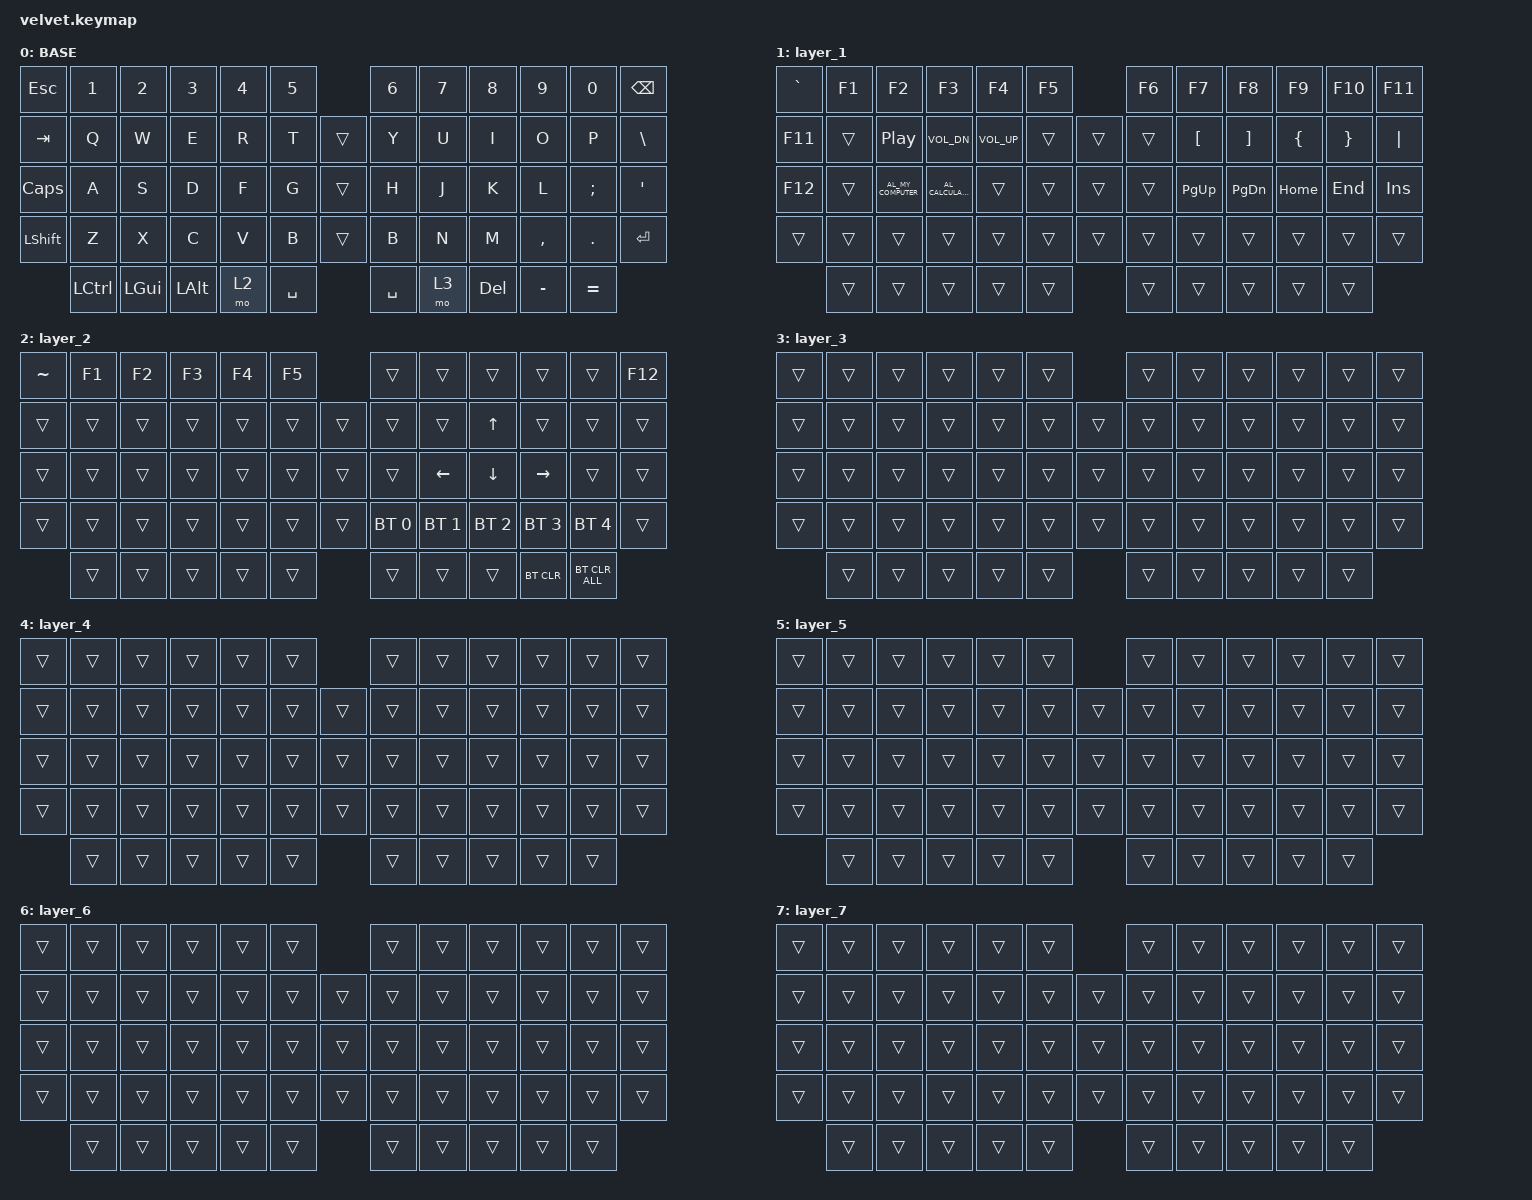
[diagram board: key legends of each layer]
#define BASE 0
#define LOWER 1

#include <behaviors/toggle_io.dtsi>
#include <behaviors/on_io.dtsi>
#include <behaviors/off_io.dtsi>
#include <behaviors.dtsi>
#include <dt-bindings/zmk/bt.h>
#include <dt-bindings/zmk/keys.h>





/ {

    behaviors {
        ltq: ltq {
            compatible = "zmk,behavior-hold-tap";
            label = "LTQ";
            bindings = <&mo>, <&kp>;

            #binding-cells = <2>;
            tapping-term-ms = <200>;
            quick-tap-ms = <180>;
        };

    };

    combos {
        compatible = "zmk,combos";

        flash {
            bindings = <&bootloader>;
            key-positions = <0 11>;
        };
    };

    keymap {
        compatible = "zmk,keymap";

        BASE {
            bindings = <
&kp ESC    &kp N1     &kp N2    &kp N3        &kp N4  &kp N5                &kp NUMBER_6  &kp N7  &kp N8      &kp N9     &kp N0     &kp BACKSPACE
&kp TAB    &kp Q      &kp W     &kp E         &kp R   &kp T      &trans  &kp Y         &kp U   &kp I       &kp O      &kp P      &kp BSLH
&kp CAPS   &kp A      &kp S     &kp D         &kp F   &kp G      &trans  &kp H         &kp J   &kp K       &kp L      &kp SEMI   &kp APOS
&kp LSHFT  &kp Z      &kp X     &kp C         &kp V   &kp B      &trans  &kp B         &kp N   &kp M       &kp COMMA  &kp DOT    &kp ENTER
           &kp LCTRL  &kp LGUI  &kp LEFT_ALT  &mo 2   &kp SPACE             &kp SPACE     &mo 3   &kp DELETE  &kp MINUS  &kp EQUAL
            >;

            label = "BASE";
        };

        layer_1 {
            bindings = <
&kp GRAVE  &kp F1  &kp F2                &kp F3               &kp F4           &kp F5          &kp F6  &kp F7            &kp F8             &kp F9          &kp F10          &kp F11
&kp F11    &trans  &kp C_PLAY_PAUSE      &kp C_VOL_DN         &kp C_VOLUME_UP  &trans  &trans  &trans  &kp LEFT_BRACKET  &kp RIGHT_BRACKET  &kp LEFT_BRACE  &kp RIGHT_BRACE  &kp PIPE
&kp F12    &trans  &kp C_AL_MY_COMPUTER  &kp C_AL_CALCULATOR  &trans           &trans  &trans  &trans  &kp PAGE_UP       &kp PAGE_DOWN      &kp HOME        &kp END          &kp INSERT
&trans     &trans  &trans                &trans               &trans           &trans  &trans  &trans  &trans            &trans             &trans          &trans           &trans
           &trans  &trans                &trans               &trans           &trans          &trans  &trans            &trans             &trans          &trans
            >;

        };

        layer_2 {
            bindings = <
&kp TILDE  &kp F1  &kp F2  &kp F3  &kp F4  &kp F5          &trans        &trans        &trans        &trans        &trans          &kp F12
&trans     &trans  &trans  &trans  &trans  &trans  &trans  &trans        &trans        &kp UP_ARROW  &trans        &trans          &trans
&trans     &trans  &trans  &trans  &trans  &trans  &trans  &trans        &kp LEFT      &kp DOWN      &kp RIGHT     &trans          &trans
&trans     &trans  &trans  &trans  &trans  &trans  &trans  &bt BT_SEL 0  &bt BT_SEL 1  &bt BT_SEL 2  &bt BT_SEL 3  &bt BT_SEL 4    &trans
           &trans  &trans  &trans  &trans  &trans          &trans        &trans        &trans        &bt BT_CLR    &bt BT_CLR_ALL
            >;

        };

        layer_3 {
            bindings = <
&trans  &trans  &trans  &trans  &trans  &trans          &trans  &trans  &trans  &trans  &trans  &trans
&trans  &trans  &trans  &trans  &trans  &trans  &trans  &trans  &trans  &trans  &trans  &trans  &trans
&trans  &trans  &trans  &trans  &trans  &trans  &trans  &trans  &trans  &trans  &trans  &trans  &trans
&trans  &trans  &trans  &trans  &trans  &trans  &trans  &trans  &trans  &trans  &trans  &trans  &trans
        &trans  &trans  &trans  &trans  &trans          &trans  &trans  &trans  &trans  &trans
            >;

        };

        layer_4 {
            bindings = <
&trans  &trans  &trans  &trans  &trans  &trans          &trans  &trans  &trans  &trans  &trans  &trans
&trans  &trans  &trans  &trans  &trans  &trans  &trans  &trans  &trans  &trans  &trans  &trans  &trans
&trans  &trans  &trans  &trans  &trans  &trans  &trans  &trans  &trans  &trans  &trans  &trans  &trans
&trans  &trans  &trans  &trans  &trans  &trans  &trans  &trans  &trans  &trans  &trans  &trans  &trans
        &trans  &trans  &trans  &trans  &trans          &trans  &trans  &trans  &trans  &trans
            >;

        };

        layer_5 {
            bindings = <
&trans  &trans  &trans  &trans  &trans  &trans          &trans  &trans  &trans  &trans  &trans  &trans
&trans  &trans  &trans  &trans  &trans  &trans  &trans  &trans  &trans  &trans  &trans  &trans  &trans
&trans  &trans  &trans  &trans  &trans  &trans  &trans  &trans  &trans  &trans  &trans  &trans  &trans
&trans  &trans  &trans  &trans  &trans  &trans  &trans  &trans  &trans  &trans  &trans  &trans  &trans
        &trans  &trans  &trans  &trans  &trans          &trans  &trans  &trans  &trans  &trans
            >;

        };

        layer_6 {
            bindings = <
&trans  &trans  &trans  &trans  &trans  &trans          &trans  &trans  &trans  &trans  &trans  &trans
&trans  &trans  &trans  &trans  &trans  &trans  &trans  &trans  &trans  &trans  &trans  &trans  &trans
&trans  &trans  &trans  &trans  &trans  &trans  &trans  &trans  &trans  &trans  &trans  &trans  &trans
&trans  &trans  &trans  &trans  &trans  &trans  &trans  &trans  &trans  &trans  &trans  &trans  &trans
        &trans  &trans  &trans  &trans  &trans          &trans  &trans  &trans  &trans  &trans
            >;

        };

        layer_7 {
            bindings = <
&trans  &trans  &trans  &trans  &trans  &trans          &trans  &trans  &trans  &trans  &trans  &trans
&trans  &trans  &trans  &trans  &trans  &trans  &trans  &trans  &trans  &trans  &trans  &trans  &trans
&trans  &trans  &trans  &trans  &trans  &trans  &trans  &trans  &trans  &trans  &trans  &trans  &trans
&trans  &trans  &trans  &trans  &trans  &trans  &trans  &trans  &trans  &trans  &trans  &trans  &trans
        &trans  &trans  &trans  &trans  &trans          &trans  &trans  &trans  &trans  &trans
            >;

        };
    };
};
